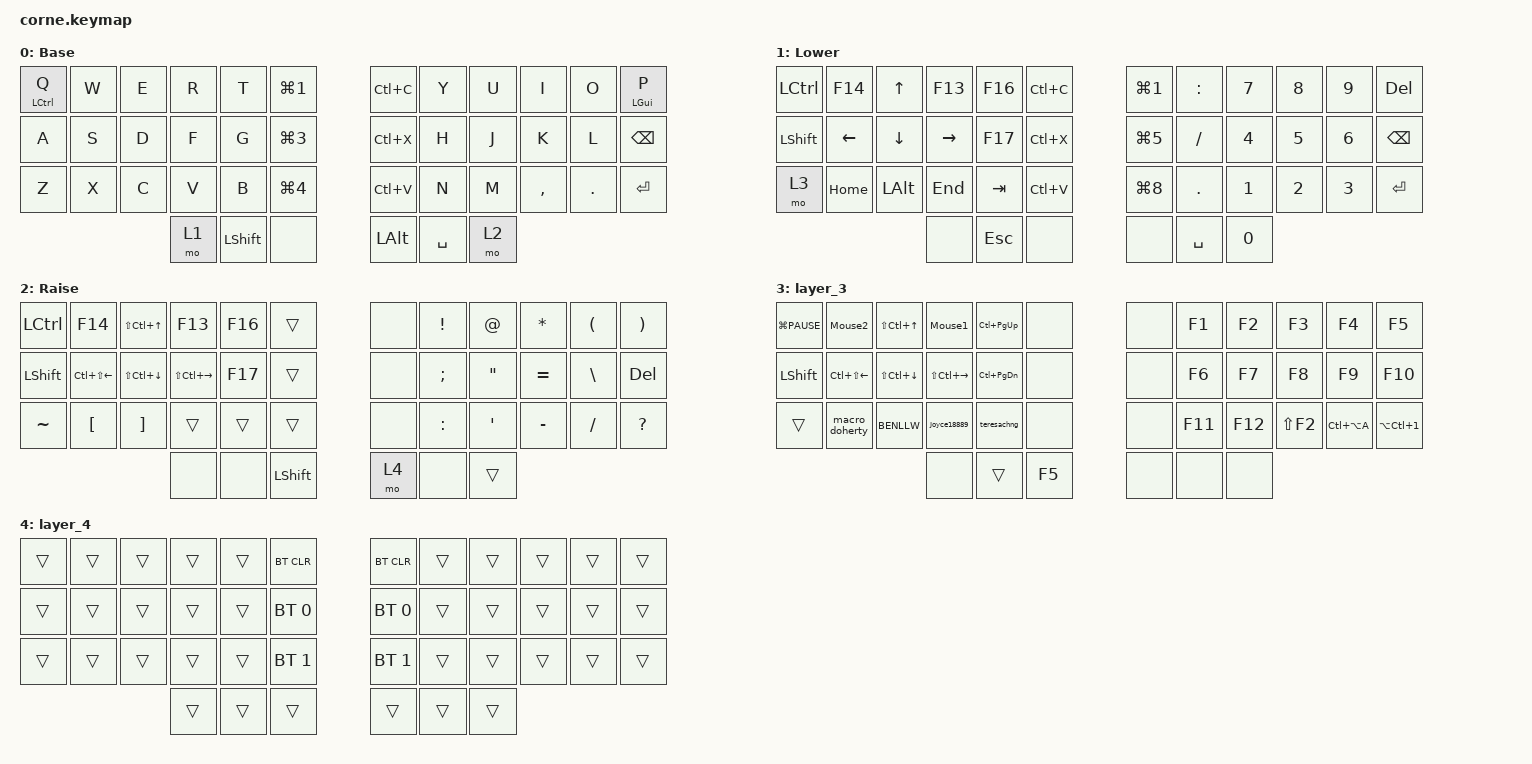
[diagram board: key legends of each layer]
/*
 * Copyright (c) 2020 The ZMK Contributors
 *
 * SPDX-License-Identifier: MIT
 */

#include <behaviors.dtsi>
#include <dt-bindings/zmk/keys.h>
#include <dt-bindings/zmk/bt.h>


/ {
    macros {
        Date: Date {
            compatible = "zmk,behavior-macro";
            label = "DATE";
            #binding-cells = <0>;
            bindings = <&kp SLASH &kp NUMBER_9 &kp SLASH &kp NUMBER_2 &kp NUMBER_0 &kp NUMBER_2 &kp NUMBER_3>;
        };
        BENLLW: BENLLW {
            compatible = "zmk,behavior-macro";
            label = "BENLLW";
            #binding-cells = <0>;
            bindings = <&kp B &kp E &kp N &kp L &kp L &kp W &kp AT &kp G &kp M &kp A &kp I &kp L &kp PERIOD &kp C &kp O &kp M>;
        };
        Joyce18889: Joyce18889 {
            compatible = "zmk,behavior-macro";
            label = "JOYCE18889";
            #binding-cells = <0>;
            bindings = <&kp J &kp O &kp Y &kp C &kp E &kp NUMBER_1 &kp NUMBER_8 &kp NUMBER_8 &kp NUMBER_8 &kp NUMBER_9 &kp AT_SIGN &kp G &kp M &kp A &kp I &kp L &kp PERIOD &kp C &kp O &kp M>;
        };
        macro_doherty: macro_doherty {
            label = "macro_doherty";
            compatible = "zmk,behavior-macro";
            #binding-cells = <0>;
            bindings =
                <&macro_tap>,
                <&kp B &kp E &kp N &kp DOT &kp L &kp E &kp E &kp AT &kp D &kp O &kp H &kp E &kp R &kp T &kp Y &kp DOT &kp C &kp O &kp DOT &kp U &kp K>;
        };
        teresachng: teresachng {
            compatible = "zmk,behavior-macro";
            label = "TERESACHNG";
            #binding-cells = <0>;
            bindings = <&kp T &kp E &kp R &kp E &kp S &kp A &kp M &kp G &kp C &kp H &kp N &kp G &kp AT_SIGN &kp G &kp M &kp A &kp I &kp L &kp PERIOD &kp C &kp O &kp M>;
        };
        ben: ben {
            compatible = "zmk,behavior-macro";
            label = "BEN";
            #binding-cells = <0>;
            bindings = <&kp MINUS &kp LS(B) &kp E &kp N>;
        };
        Mouse1: Mouse1 {
            compatible = "zmk,behavior-macro";
            label = "MOUSE1";
            #binding-cells = <0>;
            bindings = <&kp KP_DOT &kp KP_NUMBER_5>;
        };
        Mouse2: Mouse2 {
            compatible = "zmk,behavior-macro";
            label = "MOUSE2";
            #binding-cells = <0>;
            bindings = <&kp KP_MINUS &kp KP_NUMBER_5 &kp KP_SLASH>;
        };
    };
};

/ {
    combos {
        compatible = "zmk,combos";

        CTRLbackspace {
            bindings = <&kp LC(BACKSPACE)>;
            key-positions = <22 23>;
        };

        Hyphen {
            bindings = <&kp MINUS>;
            key-positions = <33 34>;
        };

        Date {
            bindings = <&Date>;
            key-positions = <19 20>;
            layers = <1>;
        };

        Ben {
            bindings = <&ben>;
            key-positions = <32 33 34>;
        };

        plus {
            bindings = <&kp PLUS>;
            key-positions = <32 33>;
            layers = <1>;
        };

        Times {
            bindings = <&kp ASTERISK>;
            key-positions = <8 9>;
            layers = <1>;
        };

        undo {
            bindings = <&kp LC(Z)>;
            key-positions = <0 24>;
        };

        cut {
            bindings = <&kp LC(X)>;
            key-positions = <0 25>;
        };

        copy {
            bindings = <&kp LC(C)>;
            key-positions = <0 26>;
        };

        paste {
            bindings = <&kp V>;
            key-positions = <0 27>;
        };

        Capslock {
            bindings = <&kp CAPSLOCK>;
            key-positions = <1 2 3 0>;
        };

        Numlock {
            bindings = <&kp KP_NUMLOCK>;
            key-positions = <8 9 10 11>;
        };

        CTRLW {
            bindings = <&kp LC(W)>;
            key-positions = <1 0>;
        };

        CtrlR {
            bindings = <&kp R>;
            key-positions = <0 3>;
        };

        CtrlT {
            bindings = <&kp LC(T)>;
            key-positions = <0 4>;
        };

        CtrlB {
            bindings = <&kp LC(B)>;
            key-positions = <28 0>;
        };

        LockWinL {
            bindings = <&kp LG(L)>;
            key-positions = <11 22>;
        };

        CtrlA {
            bindings = <&kp LC(A)>;
            key-positions = <12 0>;
        };

        CtrlF {
            bindings = <&kp LC(F)>;
            key-positions = <0 15>;
        };

        Equals {
            bindings = <&kp EQUAL>;
            key-positions = <10 11>;
            layers = <1>;
        };
    };
};




/ {
    behaviors {
        hm: homerow_mods {
            compatible = "zmk,behavior-hold-tap";
            label = "HOMEROW_MODS";
            #binding-cells = <2>;
            tapping-term-ms = <200>;
            quick-tap-ms = <0>;
            flavor = "tap-preferred";
            bindings = <&kp>, <&kp>;
        };
        MouseClick: MouseClick {
            compatible = "zmk,behavior-tap-dance";
            label = "MOUSECLICK";
            #binding-cells = <0>;
            bindings =
                <&Mouse1>,
                <&kp KP_NUMBER_0>;
        };
    };

    keymap {
        compatible = "zmk,keymap";

        default_layer {
            label = "Base";
            bindings = <
&hm LCTRL Q  &kp W  &kp E  &kp R  &kp T       &kp LG(NUMBER_1)    &kp LC(C)     &kp Y      &kp U  &kp I      &kp O    &hm LGUI P
&kp A        &kp S  &kp D  &kp F  &kp G       &kp LG(NUMBER_3)    &kp LC(X)     &kp H      &kp J  &kp K      &kp L    &kp BACKSPACE
&kp Z        &kp X  &kp C  &kp V  &kp B       &kp LG(NUMBER_4)    &kp LC(V)     &kp N      &kp M  &kp COMMA  &kp DOT  &kp RET
                           &mo 1  &kp LSHIFT  &none               &kp LEFT_ALT  &kp SPACE  &mo 2
            >;
        };

        lower_layer {
            label = "Lower";
            bindings = <
&kp LCTRL   &kp F14   &kp UP    &kp F13    &kp F16  &kp LC(C)    &kp LG(NUMBER_1)  &kp COLON   &kp N7        &kp NUMBER_8  &kp NUMBER_9  &kp DELETE
&kp LSHIFT  &kp LEFT  &kp DOWN  &kp RIGHT  &kp F17  &kp LC(X)    &kp LG(N5)        &kp SLASH   &kp N4        &kp N5        &kp NUMBER_6  &kp BACKSPACE
&mo 3       &kp HOME  &kp LALT  &kp END    &kp TAB  &kp LC(V)    &kp LG(N8)        &kp PERIOD  &kp N1        &kp NUMBER_2  &kp N3        &kp RET
                                &none      &kp ESC  &none        &none             &kp SPACE   &kp NUMBER_0
            >;
        };

        raise_layer {
            label = "Raise";
            bindings = <
&kp LCTRL       &kp F14           &kp LS(LC(UP))     &kp F13            &kp F16  &trans        &none  &kp EXCL       &kp AT    &kp STAR   &kp LPAR  &kp RPAR
&kp LEFT_SHIFT  &kp LC(LS(LEFT))  &kp LS(LC(DOWN))   &kp LS(LC(RIGHT))  &kp F17  &trans        &none  &kp SEMICOLON  &kp DQT   &kp EQUAL  &kp BSLH  &kp DEL
&kp TILDE       &kp LEFT_BRACKET  &kp RIGHT_BRACKET  &trans             &trans   &trans        &none  &kp COLON      &kp APOS  &kp MINUS  &kp FSLH  &kp QUESTION
                                                     &none              &none    &kp LSHIFT    &mo 4  &none          &trans
            >;
        };

        layer_3 {
            bindings = <
&kp LG(C_PAUSE)  &Mouse2           &kp LS(LC(UP_ARROW))  &Mouse1            &kp LC(PAGE_UP)    &none     &none  &kp F1   &kp F2   &kp F3      &kp F4         &kp F5
&kp LEFT_SHIFT   &kp LC(LS(LEFT))  &kp LS(LC(DOWN))      &kp LS(LC(RIGHT))  &kp LC(PAGE_DOWN)  &none     &none  &kp F6   &kp F7   &kp F8      &kp F9         &kp F10
&trans           &macro_doherty    &BENLLW               &Joyce18889        &teresachng        &none     &none  &kp F11  &kp F12  &kp LS(F2)  &kp LC(LA(A))  &kp LA(LC(NUMBER_1))
                                                         &none              &trans             &kp F5    &none  &none    &none
            >;
        };

        layer_4 {
            bindings = <
&trans  &trans  &trans  &trans  &trans  &bt BT_CLR      &bt BT_CLR    &trans  &trans  &trans  &trans  &trans
&trans  &trans  &trans  &trans  &trans  &bt BT_SEL 0    &bt BT_SEL 0  &trans  &trans  &trans  &trans  &trans
&trans  &trans  &trans  &trans  &trans  &bt BT_SEL 1    &bt BT_SEL 1  &trans  &trans  &trans  &trans  &trans
                        &trans  &trans  &trans          &trans        &trans  &trans
            >;
        };
    };
};
